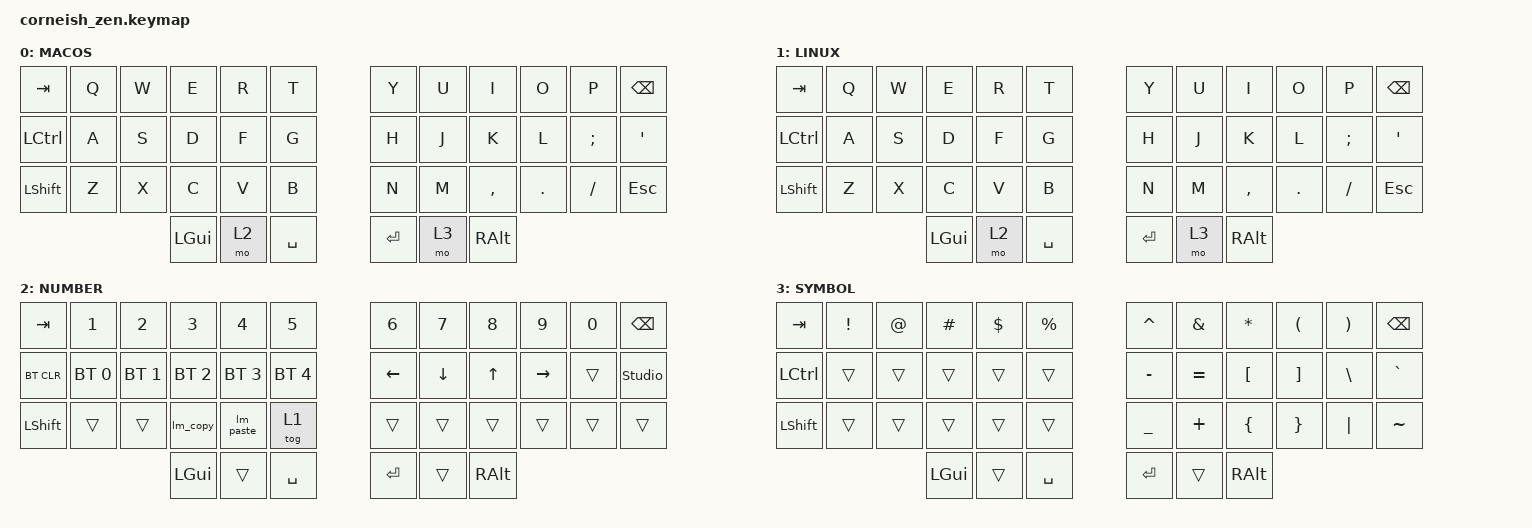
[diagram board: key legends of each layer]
#include <behaviors.dtsi>
#include <dt-bindings/zmk/keys.h>
#include <dt-bindings/zmk/bt.h>

/ {
    chosen {
        zmk,physical-layout = &foostan_corne_6col_layout;
        // zmk,physical-layout = &foostan_corne_5col_layout;
    };
};

/ {
    behaviors {
        // Layer morph for copy
        lm_copy: layer_morph_copy {
            compatible = "zmk,behavior-layer-morph";
            #binding-cells = <0>;
            layers = <1>; // Check for Linux layer
            bindings = <&kp LG(C)>, <&kp LC(C)>; // MacOS, Linux
        };

        // Layer morph for paste
        lm_paste: layer_morph_paste {
            compatible = "zmk,behavior-layer-morph";
            #binding-cells = <0>;
            layers = <1>; // Check for Linux layer
            bindings = <&kp LG(V)>, <&kp LC(V)>; // MacOS, Linux
        };
    };

    keymap {
        compatible = "zmk,keymap";

        default_layer {
            display-name = "MACOS";
// --------------------------------------------------------------------------------
// |  TAB |  Q  |  W  |  E  |  R  |  T  |   |  Y  |  U   |  I  |  O  |  P  | BSPC |
// | CTRL |  A  |  S  |  D  |  F  |  G  |   |  H  |  J   |  K  |  L  |  ;  |  '   |
// | SHFT |  Z  |  X  |  C  |  V  |  B  |   |  N  |  M   |  ,  |  .  |  /  | ESC  |
//                    | GUI | LWR | SPC |   | ENT | RSE  | ALT |
            bindings = <
&kp TAB   &kp Q &kp W &kp E &kp R &kp T   &kp Y &kp U  &kp I     &kp O   &kp P    &kp BSPC
&kp LCTRL &kp A &kp S &kp D &kp F &kp G   &kp H &kp J  &kp K     &kp L   &kp SEMI &kp SQT
&kp LSHFT &kp Z &kp X &kp C &kp V &kp B   &kp N &kp M  &kp COMMA &kp DOT &kp FSLH &kp ESC
               &kp LGUI &mo 2 &kp SPACE   &kp RET &mo 3 &kp RALT
            >;
        };

        alternative_layer {
            display-name = "LINUX";
// --------------------------------------------------------------------------------
// |  TAB |  Q  |  W  |  E  |  R  |  T  |   |  Y  |  U   |  I  |  O  |  P  | BSPC |
// | CTRL |  A  |  S  |  D  |  F  |  G  |   |  H  |  J   |  K  |  L  |  ;  |  '   |
// | SHFT |  Z  |  X  |  C  |  V  |  B  |   |  N  |  M   |  ,  |  .  |  /  | ESC  |
//                    | GUI | LWR | SPC |   | ENT | RSE  | ALT |
            bindings = <
&kp TAB   &kp Q &kp W &kp E &kp R &kp T   &kp Y &kp U  &kp I     &kp O   &kp P    &kp BSPC
&kp LCTRL &kp A &kp S &kp D &kp F &kp G   &kp H &kp J  &kp K     &kp L   &kp SEMI &kp SQT
&kp LSHFT &kp Z &kp X &kp C &kp V &kp B   &kp N &kp M  &kp COMMA &kp DOT &kp FSLH &kp ESC
               &kp LGUI &mo 2 &kp SPACE   &kp RET &mo 3 &kp RALT
            >;
        };

        lower_layer {
            display-name = "NUMBER";
// -----------------------------------------------------------------------------------------
// |  TAB |  1  |  2  |  3  |  4  |  5  |   |  6  |  7  |  8  |  9  |  0  | BSPC |
// | BTCLR| BT1 | BT2 | BT3 | BT4 | BT5 |   | LFT | DWN |  UP | RGT |     |Studio|
// | SHFT |     |     |     | OS  |     |   |     |     |     |     |     |      |
//                    | GUI |     | SPC |   | ENT |     | ALT |
            bindings = <
&kp TAB    &kp N1       &kp N2       &kp N3       &kp N4       &kp N5         &kp N6   &kp N7   &kp N8 &kp N9    &kp N0 &kp BSPC
&bt BT_CLR &bt BT_SEL 0 &bt BT_SEL 1 &bt BT_SEL 2 &bt BT_SEL 3 &bt BT_SEL 4   &kp LEFT &kp DOWN &kp UP &kp RIGHT &trans &studio_unlock
&kp LSHFT  &trans       &trans       &lm_copy     &lm_paste    &tog 1         &trans   &trans   &trans &trans    &trans &trans
                                     &kp LGUI     &trans       &kp SPACE      &kp RET  &trans   &kp RALT
            >;
        };

        raise_layer {
            display-name = "SYMBOL";
// -----------------------------------------------------------------------------------------
// |  TAB |  !  |  @  |  #  |  $  |  %  |   |  ^  |  &  |  *  |  (  |  )  | BSPC |
// | CTRL |     |     |     |     |     |   |  -  |  =  |  [  |  ]  |  \  |  `   |
// | SHFT |     |     |     |     |     |   |  _  |  +  |  {  |  }  | "|" |  ~   |
//                    | GUI |     | SPC |   | ENT |     | ALT |
            bindings = <
&kp  TAB  &kp EXCL &kp AT &kp HASH &kp DLLR &kp PRCNT   &kp CARET &kp AMPS  &kp ASTRK &kp LPAR &kp RPAR &kp BSPC
&kp LCTRL &trans   &trans &trans   &trans   &trans      &kp MINUS &kp EQUAL &kp LBKT  &kp RBKT &kp BSLH &kp GRAVE
&kp LSHFT &trans   &trans &trans   &trans   &trans      &kp UNDER &kp PLUS  &kp LBRC  &kp RBRC &kp PIPE &kp TILDE
                          &kp LGUI &trans   &kp SPACE   &kp RET   &trans    &kp RALT
            >;
        };
    };
};
